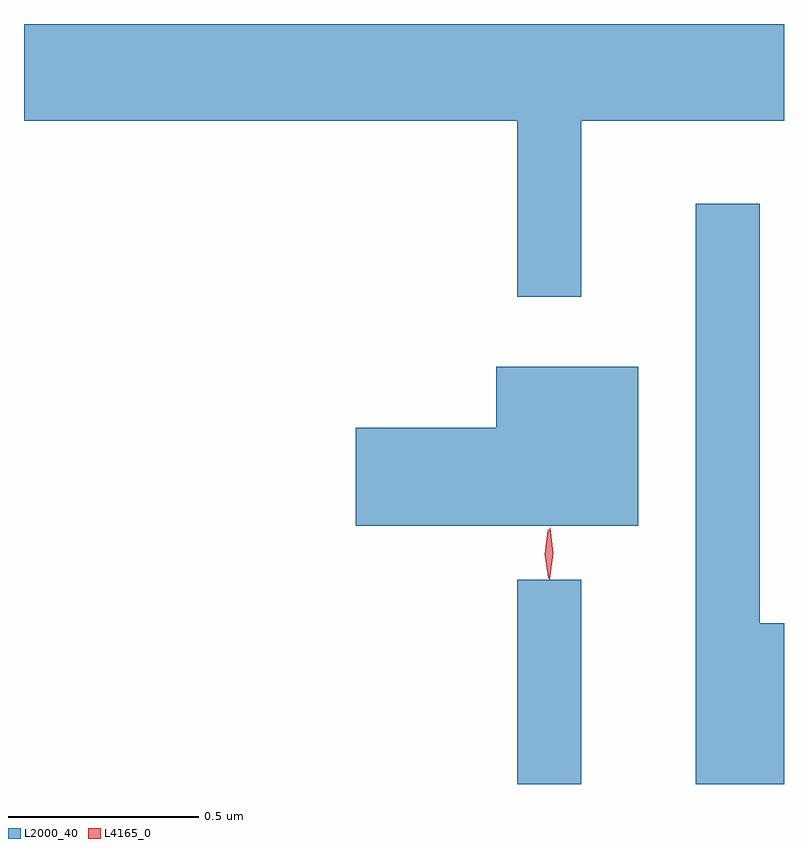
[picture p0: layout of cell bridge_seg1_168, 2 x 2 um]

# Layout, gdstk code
import gdstk
lib = gdstk.Library(unit=1e-6, precision=1e-09)
def R(c, l, rs):  # rectangles x0, y0, x1, y1
    for r in rs: c.add(gdstk.rectangle(r[:2], r[2:], *l))
def P(c, l, *ps):  # polygons
    for p in ps: c.add(gdstk.Polygon(p, *l))
L2000_40 = (2000, 40)
L4165_0 = (4165, 0)

bridge_seg1_168 = lib.new_cell('bridge_seg1_168')
R(bridge_seg1_168, L2000_40, [(804.021,959.991,804.189,960.528)])
P(bridge_seg1_168, L2000_40, [(804.189,961.736),(804.723,961.736),(804.723,961.991),(802.723,961.991),(802.723,961.736),(804.021,961.736),(804.021,961.273),(804.189,961.273)],
  [(804.723,960.414),(804.659,960.414),(804.659,961.518),(804.491,961.518),(804.491,959.991),(804.723,959.991)],
  [(804.339,961.089),(803.966,961.089),(803.966,960.929),(803.596,960.929),(803.596,960.671),(804.339,960.671)])
P(bridge_seg1_168, L4165_0, [(804.105,960.53),(804.105,960.53),(804.096,960.598),(804.106,960.666),(804.107,960.666),(804.108,960.666),(804.116,960.598),(804.106,960.53)],
  [(804.104,960.533),(804.103,960.534),(804.093,960.596),(804.101,960.659),(804.102,960.66),(804.102,960.659),(804.113,960.596),(804.104,960.534)])

lib.write_gds('bridge_seg1_168.gds')
